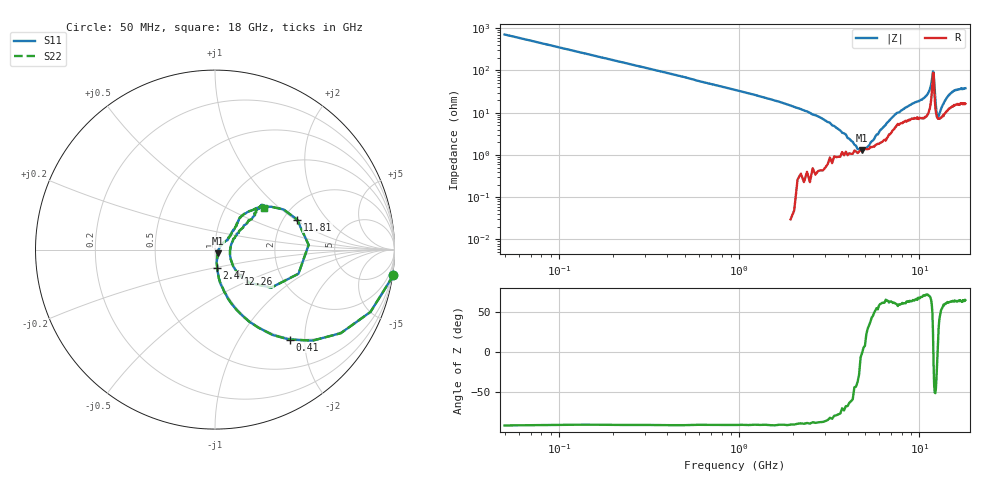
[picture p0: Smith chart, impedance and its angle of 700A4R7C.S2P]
!  American Technical Ceramics  Date:  3/13/98
!  One Norden Lane
!  Huntington Station,  NY.  11746-2102
!  Tel:  (516) 547-5700  Fax:  (516) 547-5748
!  Part Number  700A4R7C
!  Description: Porcelain, High Q, Low ESR
!  Application: Bypass, Coupling, Timing, Feedback
!  Tuning, Impedance Match, Blocking
# GHZ S DB R 50
! Freq  |S11|  S11 Ph  |S21|  S21 Ph  |S12|  S12 Ph  |S22|  S22 Ph
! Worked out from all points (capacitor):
!   201 points, 50 MHz to 18 GHz, reference 50 ohm
!   read as one part in series: C = 4.5 pF near 140 MHz
!   lowest |Z| = 1.31 ohm at 4.81 GHz (marker M1)
!   series resonance near 4.823 GHz, so ESL is about 240 pH
!   S11 on the Smith chart (normalised r, x): 50 MHz: -0, -14; 410 MHz: 0.97, -1.69; 2.47 GHz: 1.00, -0.21; 11.81 GHz: 2.36, +1.04; 12.26 GHz: 1.24, -0.35; 18 GHz: 1.50, +0.80
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0.05  0.04 -8.2  -17.01 82.7  -17.01 82.7  0.04 -8.2
0.14  -0.60 -21.8  -8.66 68.0  -8.66 68.0  -0.60 -21.8
0.41  -3.73 -50.4  -2.34 40.3  -2.34 40.3  -3.73 -50.4
0.95  -9.61 -71.9  -0.52 19.0  -0.52 19.0  -9.61 -71.9
2.47  -19.64 -83.6  -0.07 5.3  -0.07 5.3  -19.64 -83.6
3.1  -23.55 -81.6  -0.07 3.0  -0.07 3.0  -23.55 -81.6
4.81  -32.12 -55.0  -0.10 -1.1  -0.10 -1.1  -32.12 -55.0
5.52  -34.58 -25.4  -0.12 -2.2  -0.12 -2.2  -34.58 -25.4
6.06  -32.77 14.1  -0.14 -3.4  -0.14 -3.4  -32.77 14.1
7.41  -21.64 37.9  -0.27 -5.7  -0.27 -5.7  -21.64 37.9
9.03  -15.83 47.2  -0.42 -7.5  -0.42 -7.5  -15.83 47.2
11.18  -11.20 49.2  -0.62 -14.3  -0.62 -14.3  -11.20 49.2
11.54  -8.98 41.6  -1.24 -19.0  -1.24 -19.0  -8.98 41.6
11.81  -6.25 20.1  -3.47 -24.1  -3.47 -24.1  -6.25 20.1
11.9  -5.64 2.9  -5.22 -17.3  -5.22 -17.3  -5.64 2.9
12.08  -8.44 -34.0  -3.61 12.0  -3.61 12.0  -8.44 -34.0
12.26  -14.47 -46.8  -1.31 7.8  -1.31 7.8  -14.47 -46.8
12.44  -19.82 -31.2  -0.72 2.6  -0.72 2.6  -19.82 -31.2
12.62  -21.53 -3.4  -0.50 -0.6  -0.50 -0.6  -21.53 -3.4
13.96  -13.58 40.1  -0.48 -8.9  -0.48 -8.9  -13.58 40.1
15.04  -10.52 42.6  -0.78 -12.3  -0.78 -12.3  -10.52 42.6
18  -8.88 40.5  -1.01 -16.0  -1.01 -16.0  -8.88 40.5
